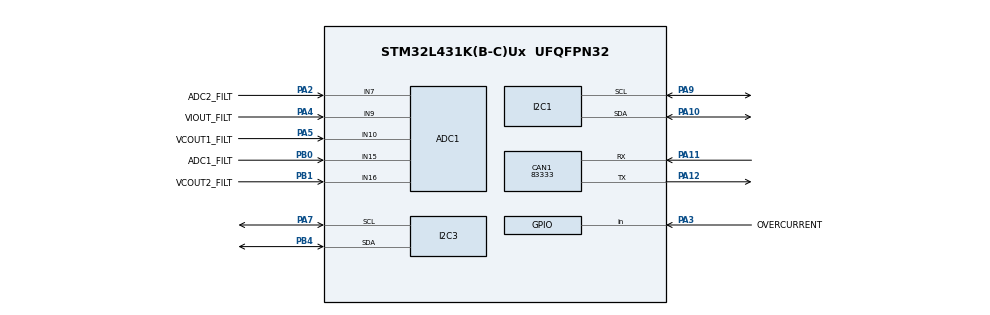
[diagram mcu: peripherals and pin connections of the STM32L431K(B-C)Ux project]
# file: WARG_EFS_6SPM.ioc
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ADC1.Channel-0\#ChannelRegularConversion=ADC_CHANNEL_10
ADC1.NbrOfConversionFlag=1
ADC1.OffsetNumber-0\#ChannelRegularConversion=ADC_OFFSET_NONE
ADC1.Rank-0\#ChannelRegularConversion=1
ADC1.SamplingTime-0\#ChannelRegularConversion=ADC_SAMPLETIME_2CYCLES_5
ADC1.master=1
CAN1.CalculateBaudRate=83333
CAN1.CalculateTimeBit=12000
CAN1.CalculateTimeQuantum=4000.0
I2C1.Timing=0x00100D14
I2C3.Timing=0x00100D14
Mcu.Family=STM32L4
Mcu.Name=STM32L431K(B-C)Ux
Mcu.Package=UFQFPN32
NVIC.PriorityGroup=NVIC_PRIORITYGROUP_4
PA10.Mode=I2C
PA10.Signal=I2C1_SDA
PA11.Mode=CAN_Activate
PA11.Signal=CAN1_RX
PA12.Mode=CAN_Activate
PA12.Signal=CAN1_TX
PA2.GPIO_Label=ADC2_FILT
PA2.Signal=ADCx_IN7
PA3.GPIO_Label=OVERCURRENT
PA3.Signal=GPIO_Input
PA4.GPIO_Label=VIOUT_FILT
PA4.Signal=ADCx_IN9
PA5.GPIO_Label=VCOUT1_FILT
PA5.Signal=ADCx_IN10
PA7.Mode=I2C
PA7.Signal=I2C3_SCL
PA9.Mode=I2C
PA9.Signal=I2C1_SCL
PB0.GPIO_Label=ADC1_FILT
PB0.Signal=ADCx_IN15
PB1.GPIO_Label=VCOUT2_FILT
PB1.Signal=ADCx_IN16
PB4\ (NJTRST).Mode=I2C
PB4\ (NJTRST).Signal=I2C3_SDA
ProjectManager.HeapSize=0x200
ProjectManager.StackSize=0x400
ProjectManager.TargetToolchain=STM32CubeIDE
RCC.ADCFreq_Value=32000000
RCC.HSE_VALUE=8000000
RCC.HSI48_VALUE=48000000
RCC.HSI_VALUE=16000000
RCC.LSE_VALUE=32768
RCC.MSI_VALUE=4000000
RCC.PLLSAI1N=16
RCC.VCOOutputFreq_Value=32000000
SH.ADCx_IN10.0=ADC1_IN10,IN10-Single-Ended
SH.ADCx_IN15.0=ADC1_IN15,IN15-Single-Ended
SH.ADCx_IN16.0=ADC1_IN16,IN16-Single-Ended
SH.ADCx_IN7.0=ADC1_IN7,IN7-Single-Ended
SH.ADCx_IN9.0=ADC1_IN9,IN9-Single-Ended
board=custom

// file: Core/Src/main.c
/* USER CODE BEGIN Header */
/**
  ******************************************************************************
  * @file           : main.c
  * @brief          : Main program body
  ******************************************************************************
  * @attention
  *
  * Copyright (c) 2024 STMicroelectronics.
  * All rights reserved.
  *
  * This software is licensed under terms that can be found in the LICENSE file
  * in the root directory of this software component.
  * If no LICENSE file comes with this software, it is provided AS-IS.
  *
  ******************************************************************************
  */
/* USER CODE END Header */
#include "main.h"

/* USER CODE BEGIN Includes */
#include "stdio.h"
/* USER CODE END Includes */

/* USER CODE BEGIN PD */
ADC_HandleTypeDef hadc1;
CAN_HandleTypeDef hcan1;
I2C_HandleTypeDef hi2c1;
I2C_HandleTypeDef hi2c3;

const int FULL_SCALE_COUNT  = 4095; // 12 bit ADC count
const int VREF_NOMINAL = 1.5; //Volt
const int I2C_GROUP_ADDRESS = 0x20;

const int GVCOUT = 0.3; //Set according to REF_SEL
uint16_t adc_data[5] = {0}; //Storage for ADC return values, indexed from lowest to highest (Ex IN7 - IN16)
enum CELL_SEL{
  CELL1_SEL = 0x0,
  CELL2_SEL = 0x1,
  CELL3_SEL = 0x2,
  CELL4_SEL = 0x3,
  CELL5_SEL = 0X4,
  CELL6_SEL = 0x5
};
enum VC_CAL {
  VC1_CAL = 0x11,
  VC2_CAL = 0x12,
  VC3_CAL = 0x13,
  VC4_CAL = 0x14,
  VC5_CAL = 0X15,
  VC6_CAL = 0x16
};

int _write(int file, char *ptr, int len)
   {
     (void)file;
     int DataIdx;
     for (DataIdx = 0; DataIdx < len; DataIdx++)
     {
       ITM_SendChar(*ptr++);
     }
     return len;
   }

// Writing this function since the ADC communication uses polling, so getting for specific lines is complex
void adc_read(uint16_t* data_writeto){

	uint16_t adc_value = 0;

	for(int i = 0; i < 5; i++){

		HAL_ADC_Start(&hadc1);
		    if (HAL_ADC_PollForConversion(&hadc1, HAL_MAX_DELAY) == HAL_OK) {
		        adc_value = HAL_ADC_GetValue(&hadc1);
		    }
		    HAL_ADC_Stop(&hadc1);

		data_writeto[i] = adc_value;
	}
}

float adc_correction(uint16_t value){

	return ((float)value / FULL_SCALE_COUNT) * VREF_NOMINAL;
}

void cell_select1() {

	uint8_t data[1] = {0x01 << 4 + CELL1_SEL}; // To Select Cell 1 ;
	// uint16_t I2C_CellSelect1_Address = 0x21 ; // 0x42, write mode
  int I2C_CELL1_CTL = (I2C_GROUP_ADDRESS + 0x01) << 0x01; //shift left one bit for R/W

	// Send the data over I2C
	HAL_StatusTypeDef status = HAL_I2C_Master_Transmit(&hi2c1, I2C_CELL1_CTL, data, sizeof(data), HAL_MAX_DELAY);

	// Check for errors
	if (status != HAL_OK) {
	    printf("I2C write failed! Error code: %d\n", status);
	} else {
	    printf("Cell 1 selected successfully.\n");
	}
}

uint16_t read_cell1_voltage(void) {
    // uint8_t I2C_CELL1_ADDRESS = 0x31;  // VC1_CAL

    uint8_t I2C_CELL1_VCOUT_ADDRESS = (I2C_GROUP_ADDRESS + VC1_CAL) << 1;

    // uint8_t I2C_VREF_ADDRESS = 0x30;   // VREF_CAL
    uint8_t I2C_VREF_ADDRESS = (I2C_GROUP_ADDRESS + 0x10) << 1;

    uint8_t I2C_VC_CAL_EXT_1 = (0x37) << 1;   // VC_CAL_EXT_1
    uint8_t I2C_VREF_CAL_EXT = (I2C_GROUP_ADDRESS + 0x1B) << 1;

    uint16_t adc_value = 0;

    HAL_ADC_Start(&hadc1);
        if (HAL_ADC_PollForConversion(&hadc1, HAL_MAX_DELAY) == HAL_OK) {
            adc_value = HAL_ADC_GetValue(&hadc1);
        }
    HAL_ADC_Stop(&hadc1)()

    float VCOUT_CELL1 = ((float)adc_value / FULL_SCALE_COUNT) * VREF_NOMINAL;

    uint8_t VC1_CAL = 0; // VC1_CAL
    uint8_t VREF_CAL = 0; // VREF_CAL
    uint8_t VC_CAL_EXT_1 = 0; // VC_CAL_EXT_1
    uint8_t VREF_CAL_EXT = 0;

    if (HAL_I2C_Master_Receive(&hi2c1, I2C_CELL1_VCOUT_ADDRESS, &VC1_CAL, 1, 100) != HAL_OK) {
        printf("I2C Read Error VC1_CAL! Status: %d, ErrorCode: %lu\n", HAL_I2C_GetState(&hi2c1), hi2c1.ErrorCode);
    }
    HAL_Delay(1);

    if (HAL_I2C_Master_Receive(&hi2c1, I2C_VREF_ADDRESS, &VREF_CAL, 1, 100) != HAL_OK) {
        printf("I2C Read Error VREF_CAL! Status: %d, ErrorCode: %lu\n", HAL_I2C_GetState(&hi2c1), hi2c1.ErrorCode);
    }
    HAL_Delay(1);

    if (HAL_I2C_Master_Receive(&hi2c1, I2C_VC_CAL_EXT_1, &VC_CAL_EXT_1, 1, 100) != HAL_OK) {
        printf("I2C Read Error VC_CAL_EXT_1! Status: d, ErrorCode: %lu\n", HAL_I2C_GetState(&hi2c1), hi2c1.ErrorCode);
    }
    HAL_Delay(1);
    if (HAL_I2C_Master_Receive(&hi2c1, I2C_VREF_CAL_EXT, &VREF_CAL_EXT, 1, 100) != HAL_OK) {
           printf("I2C Read Error VC_CAL_EXT_1! Status: d, ErrorCode: %lu\n", HAL_I2C_GetState(&hi2c1), hi2c1.ErrorCode);
       }

    int8_t VREF_GAIN_CORRECTION = VREF_CAL & 0x0F;
    int8_t VREF_OFFSET_CORRECTION = VREF_CAL >> 4;
//    int8_t vref_gain_correction = VREF_CAL & 0x1F;
//    int8_t VREF_GC_4 =
    uint8_t VREF_GC_4 = VREF_CAL_EXT & 0x01;
    uint8_t VREF_OC_4 = VREF_CAL_EXT & 0x02;
    uint8_t VREF_OC_5 = VREF_CAL_EXT & 0x04;

    VREF_GAIN_CORRECTION = (VREF_GAIN_CORRECTION + VREF_GC_4 << 4) * 0.001f;
    VREF_OFFSET_CORRECTION = ((VREF_OC_5 << 5) + (VREF_OC_4 << 4) + VREF_OFFSET_CORR) * 0.001f;
    VREF_OFFSET_CORRECTION /= VREF_NOMINAL;

    float gc_vref = 1 + VREF_GAIN_CORRECTION + VREF_OFFSET_CORRECTION;

//   GC_VREF = (1 + (VREF_GC_4 << 4) + VREF_GAIN_CORRECTION) * 0.001f

//
    if (vref_gain_correction & 0x10)
    	vref_gain_correction |= 0xE0;
    int8_t offset_correction_vref = data2 >> 5;
    if (offset_correction_vref & 0x04) offset_correction_vref |= 0xF8;

    int8_t gain_correction = data1 & 0x1F;
    if (gain_correction & 0x10)
    	gain_correction |= 0xE0;

    int8_t offset_correction = ((data3 & 0x80) >> 2) | (data1 >> 5);
    if (offset_correction & 0x20)
    	offset_correction |= 0xC0;

    float vref_corrected = (1.0f + gc_vref) * VREF_NOMINAL + oc_vref;

    VCOUT_CELL1 = ((float)adc_value / FULL_SCALE_COUNT) * vref_corrected;

    float gc_cell = gain_correction * 0.001f;
    float oc_cell = offset_correction * 0.001f;
    float VCOUT_corrected = (VCOUT_CELL1 + oc_cell) * (1.0f + gc_cell);

    float Final_CELL1_Voltage = VCOUT_corrected / 0.3f;
    return (uint16_t)(Final_CELL1_Voltage * 1000); // mV
}

float read_current(){

	// These values will be set outside this function, but for now I don't want to break anything
	_Bool REF_SEL = 0;
	float VIOUT_GAIN = 50.0;

	adc_read(adc_data);

	float viout_voltage = adc_correction(adc_data[2]);
	float current = 0;

	// Voltage Correction for 0 current
	if(!REF_SEL){
		current = viout_voltage - 0.75;
	} else {
		current = viout_voltage - 1.5;
	}

	return (current / (VIOUT_GAIN * 0.001));
}

/* USER CODE END PD */

ADC_HandleTypeDef hadc1;
CAN_HandleTypeDef hcan1;
I2C_HandleTypeDef hi2c1;
I2C_HandleTypeDef hi2c3;

void SystemClock_Config(void);
static void MX_GPIO_Init(void);
static void MX_CAN1_Init(void);
static void MX_I2C1_Init(void);
static void MX_I2C3_Init(void);
static void MX_ADC1_Init(void);

int main(void)
{

  /* MCU Configuration--------------------------------------------------------*/

  /* Reset of all peripherals, Initializes the Flash interface and the Systick. */
  HAL_Init();

  /* Configure the system clock */
  SystemClock_Config();

  /* Initialize all configured peripherals */
  MX_GPIO_Init();
  MX_CAN1_Init();
  MX_I2C1_Init();
  MX_I2C3_Init();
  MX_ADC1_Init();
  /* USER CODE BEGIN 2 */
  // Enable V3P3 regulator
   uint8_t status_data = 0x01;
   if (HAL_I2C_Master_Transmit(&hi2c1, 0x20, &status_data, 1, 100) != HAL_OK) {
         printf("V3P3 Enable Failed! ErrorCode: %lu\n", hi2c3.ErrorCode);
   }
   HAL_Delay(100); // Wait for V3P3 to stabilize

    // Set REFSEL = 0 (1.5V VREF)
   uint8_t config_data = 0x00;
   //REF_SEL  VREF (V)   VCOUTGain    VIOUT Output Range (V)
   //0          1.5        0.3            0.25 – 1.25
   if (HAL_I2C_Master_Transmit(&hi2c1, 0x24, &config_data, 1, 100) != HAL_OK) {
        printf("REFSEL Config Failed! ErrorCode: %lu\n", hi2c3.ErrorCode);
   }
   HAL_Delay(10);

  /* USER CODE END 2 */

  /* Infinite loop */
  while (1)
  {

    /* USER CODE BEGIN 3 */

	  cell_select1();
	  read_cell1_voltage();
	  HAL_Delay(1000);
  }
  /* USER CODE END 3 */
}

void SystemClock_Config(void)
{
  RCC_OscInitTypeDef RCC_OscInitStruct = {0};
  RCC_ClkInitTypeDef RCC_ClkInitStruct = {0};

  /** Configure the main internal regulator output voltage
  */
  if (HAL_PWREx_ControlVoltageScaling(PWR_REGULATOR_VOLTAGE_SCALE1) != HAL_OK)
  {
    Error_Handler();
  }

  /** Initializes the RCC Oscillators according to the specified parameters
  * in the RCC_OscInitTypeDef structure.
  */
  RCC_OscInitStruct.OscillatorType = RCC_OSCILLATORTYPE_MSI;
  RCC_OscInitStruct.MSIState = RCC_MSI_ON;
  RCC_OscInitStruct.MSICalibrationValue = 0;
  RCC_OscInitStruct.MSIClockRange = RCC_MSIRANGE_6;
  RCC_OscInitStruct.PLL.PLLState = RCC_PLL_NONE;
  if (HAL_RCC_OscConfig(&RCC_OscInitStruct) != HAL_OK)
  {
    Error_Handler();
  }

  /** Initializes the CPU, AHB and APB buses clocks
  */
  RCC_ClkInitStruct.ClockType = RCC_CLOCKTYPE_HCLK|RCC_CLOCKTYPE_SYSCLK
                              |RCC_CLOCKTYPE_PCLK1|RCC_CLOCKTYPE_PCLK2;
  RCC_ClkInitStruct.SYSCLKSource = RCC_SYSCLKSOURCE_MSI;
  RCC_ClkInitStruct.AHBCLKDivider = RCC_SYSCLK_DIV1;
  RCC_ClkInitStruct.APB1CLKDivider = RCC_HCLK_DIV1;
  RCC_ClkInitStruct.APB2CLKDivider = RCC_HCLK_DIV1;

  if (HAL_RCC_ClockConfig(&RCC_ClkInitStruct, FLASH_LATENCY_0) != HAL_OK)
  {
    Error_Handler();
  }
}

static void MX_ADC1_Init(void)
{

  ADC_ChannelConfTypeDef sConfig = {0};

  /** Common config
  */
  hadc1.Instance = ADC1;
  hadc1.Init.ClockPrescaler = ADC_CLOCK_ASYNC_DIV1;
  hadc1.Init.Resolution = ADC_RESOLUTION_12B;
  hadc1.Init.DataAlign = ADC_DATAALIGN_RIGHT;
  hadc1.Init.ScanConvMode = ADC_SCAN_DISABLE;
  hadc1.Init.EOCSelection = ADC_EOC_SINGLE_CONV;
  hadc1.Init.LowPowerAutoWait = DISABLE;
  hadc1.Init.ContinuousConvMode = DISABLE;
  hadc1.Init.NbrOfConversion = 1;
  hadc1.Init.DiscontinuousConvMode = DISABLE;
  hadc1.Init.ExternalTrigConv = ADC_SOFTWARE_START;
  hadc1.Init.ExternalTrigConvEdge = ADC_EXTERNALTRIGCONVEDGE_NONE;
  hadc1.Init.DMAContinuousRequests = DISABLE;
  hadc1.Init.Overrun = ADC_OVR_DATA_PRESERVED;
  hadc1.Init.OversamplingMode = DISABLE;
  if (HAL_ADC_Init(&hadc1) != HAL_OK)
  {
    Error_Handler();
  }

  /** Configure Regular Channel
  */
  sConfig.Channel = ADC_CHANNEL_10;
  sConfig.Rank = ADC_REGULAR_RANK_1;
  sConfig.SamplingTime = ADC_SAMPLETIME_2CYCLES_5;
  sConfig.SingleDiff = ADC_SINGLE_ENDED;
  sConfig.OffsetNumber = ADC_OFFSET_NONE;
  sConfig.Offset = 0;
  if (HAL_ADC_ConfigChannel(&hadc1, &sConfig) != HAL_OK)
  {
    Error_Handler();
  }

}

static void MX_CAN1_Init(void)
{

  hcan1.Instance = CAN1;
  hcan1.Init.Prescaler = 16;
  hcan1.Init.Mode = CAN_MODE_NORMAL;
  hcan1.Init.SyncJumpWidth = CAN_SJW_1TQ;
  hcan1.Init.TimeSeg1 = CAN_BS1_1TQ;
  hcan1.Init.TimeSeg2 = CAN_BS2_1TQ;
  hcan1.Init.TimeTriggeredMode = DISABLE;
  hcan1.Init.AutoBusOff = DISABLE;
  hcan1.Init.AutoWakeUp = DISABLE;
  hcan1.Init.AutoRetransmission = DISABLE;
  hcan1.Init.ReceiveFifoLocked = DISABLE;
  hcan1.Init.TransmitFifoPriority = DISABLE;
  if (HAL_CAN_Init(&hcan1) != HAL_OK)
  {
    Error_Handler();
  }

}

static void MX_I2C1_Init(void)
{

  hi2c1.Instance = I2C1;
  hi2c1.Init.Timing = 0x00100D14;
  hi2c1.Init.OwnAddress1 = 0;
  hi2c1.Init.AddressingMode = I2C_ADDRESSINGMODE_7BIT;
  hi2c1.Init.DualAddressMode = I2C_DUALADDRESS_DISABLE;
  hi2c1.Init.OwnAddress2 = 0;
  hi2c1.Init.OwnAddress2Masks = I2C_OA2_NOMASK;
  hi2c1.Init.GeneralCallMode = I2C_GENERALCALL_DISABLE;
  hi2c1.Init.NoStretchMode = I2C_NOSTRETCH_DISABLE;
  if (HAL_I2C_Init(&hi2c1) != HAL_OK)
  {
    Error_Handler();
  }

  /** Configure Analogue filter
  */
  if (HAL_I2CEx_ConfigAnalogFilter(&hi2c1, I2C_ANALOGFILTER_ENABLE) != HAL_OK)
  {
    Error_Handler();
  }

  /** Configure Digital filter
  */
  if (HAL_I2CEx_ConfigDigitalFilter(&hi2c1, 0) != HAL_OK)
  {
    Error_Handler();
  }

}

static void MX_I2C3_Init(void)
{

  hi2c3.Instance = I2C3;
  hi2c3.Init.Timing = 0x00100D14;
  hi2c3.Init.OwnAddress1 = 0;
  hi2c3.Init.AddressingMode = I2C_ADDRESSINGMODE_7BIT;
  hi2c3.Init.DualAddressMode = I2C_DUALADDRESS_DISABLE;
  hi2c3.Init.OwnAddress2 = 0;
  hi2c3.Init.OwnAddress2Masks = I2C_OA2_NOMASK;
  hi2c3.Init.GeneralCallMode = I2C_GENERALCALL_DISABLE;
  hi2c3.Init.NoStretchMode = I2C_NOSTRETCH_DISABLE;
  if (HAL_I2C_Init(&hi2c3) != HAL_OK)
  {
    Error_Handler();
  }

  /** Configure Analogue filter
  */
  if (HAL_I2CEx_ConfigAnalogFilter(&hi2c3, I2C_ANALOGFILTER_ENABLE) != HAL_OK)
  {
    Error_Handler();
  }

  /** Configure Digital filter
  */
  if (HAL_I2CEx_ConfigDigitalFilter(&hi2c3, 0) != HAL_OK)
  {
    Error_Handler();
  }

}

static void MX_GPIO_Init(void)
{
  GPIO_InitTypeDef GPIO_InitStruct = {0};

  /* GPIO Ports Clock Enable */
  __HAL_RCC_GPIOA_CLK_ENABLE();
  __HAL_RCC_GPIOB_CLK_ENABLE();

  /*Configure GPIO pin : OVERCURRENT_Pin */
  GPIO_InitStruct.Pin = OVERCURRENT_Pin;
  GPIO_InitStruct.Mode = GPIO_MODE_INPUT;
  GPIO_InitStruct.Pull = GPIO_NOPULL;
  HAL_GPIO_Init(OVERCURRENT_GPIO_Port, &GPIO_InitStruct);

}

void Error_Handler(void)
{
  __disable_irq();
  while (1)
  {
  }
}
